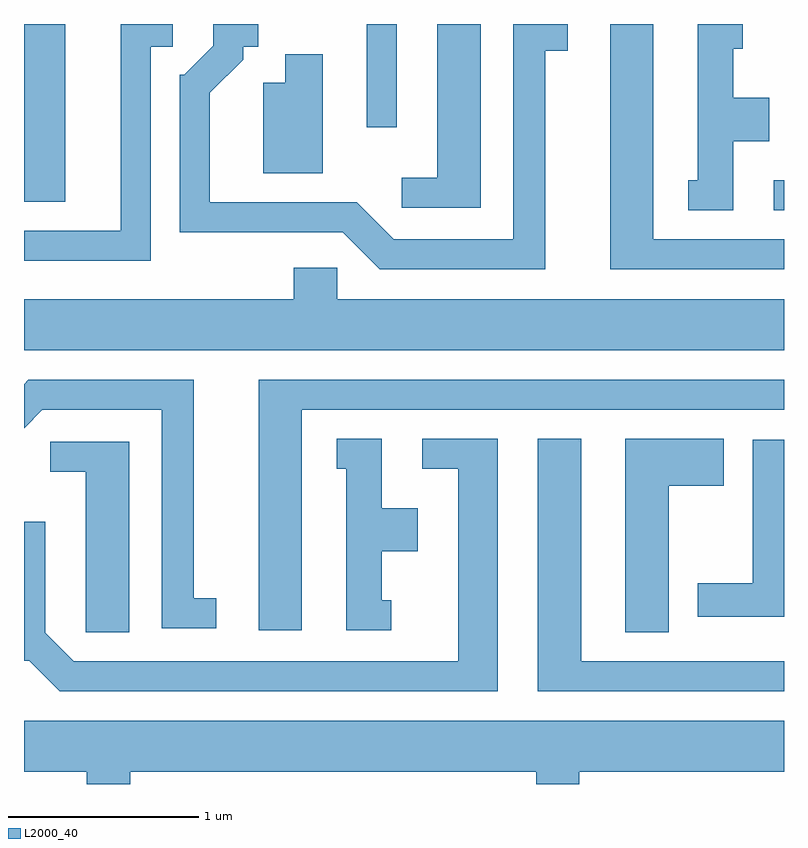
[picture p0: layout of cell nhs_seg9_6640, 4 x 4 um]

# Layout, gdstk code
import gdstk
lib = gdstk.Library(unit=1e-6, precision=1e-09)
def R(c, l, rs):  # rectangles x0, y0, x1, y1
    for r in rs: c.add(gdstk.rectangle(r[:2], r[2:], *l))
def P(c, l, *ps):  # polygons
    for p in ps: c.add(gdstk.Polygon(p, *l))
L2000_40 = (2000, 40)

nhs_seg9_6640 = lib.new_cell('nhs_seg9_6640')
R(nhs_seg9_6640, L2000_40, [(385.558,1981.451,385.611,1981.609), (381.611,1981.496,381.829,1982.432), (383.416,1981.888,383.574,1982.432)])
P(nhs_seg9_6640, L2000_40, [(385.611,1981.299),(384.924,1981.299),(384.924,1982.432),(384.696,1982.432),(384.696,1981.141),(385.611,1981.141)],
  [(382.279,1982.311),(382.393,1982.311),(382.393,1982.432),(382.121,1982.432),(382.121,1981.344),(381.611,1981.344),(381.611,1981.186),(382.279,1981.186)],
  [(384.014,1982.432),(383.786,1982.432),(383.786,1981.624),(383.598,1981.624),(383.598,1981.466),(384.014,1981.466)],
  [(384.354,1982.291),(384.473,1982.291),(384.473,1982.432),(384.186,1982.432),(384.186,1981.299),(383.557,1981.299),(383.362,1981.494),(382.589,1981.494),(382.589,1982.069),(382.764,1982.244),(382.764,1982.311),(382.843,1982.311),(382.843,1982.432),(382.606,1982.432),(382.606,1982.317),(382.454,1982.164),(382.431,1982.164),(382.431,1981.336),(383.289,1981.336),(383.484,1981.141),(384.354,1981.141)],
  [(385.344,1981.816),(385.534,1981.816),(385.534,1982.044),(385.344,1982.044),(385.344,1982.301),(385.393,1982.301),(385.393,1982.432),(385.156,1982.432),(385.156,1981.609),(385.108,1981.609),(385.108,1981.451),(385.344,1981.451)],
  [(383.184,1982.274),(382.986,1982.274),(382.986,1982.124),(382.871,1982.124),(382.871,1981.646),(383.184,1981.646)],
  [(385.611,1980.984),(383.259,1980.984),(383.259,1981.149),(383.031,1981.149),(383.031,1980.984),(381.611,1980.984),(381.611,1980.716),(385.611,1980.716)],
  [(383.074,1980.401),(385.611,1980.401),(385.611,1980.559),(382.846,1980.559),(382.846,1979.241),(383.074,1979.241)],
  [(382.623,1979.409),(382.504,1979.409),(382.504,1980.559),(381.634,1980.559),(381.611,1980.536),(381.611,1980.305),(381.707,1980.401),(382.336,1980.401),(382.336,1979.251),(382.623,1979.251)],
  [(385.004,1980.001),(385.294,1980.001),(385.294,1980.249),(384.776,1980.249),(384.776,1979.231),(385.004,1979.231)],
  [(383.543,1979.399),(383.494,1979.399),(383.494,1979.656),(383.684,1979.656),(383.684,1979.884),(383.494,1979.884),(383.494,1980.249),(383.258,1980.249),(383.258,1980.091),(383.306,1980.091),(383.306,1979.241),(383.543,1979.241)],
  [(384.104,1980.249),(383.708,1980.249),(383.708,1980.091),(383.896,1980.091),(383.896,1979.079),(381.872,1979.079),(381.724,1979.227),(381.724,1979.813),(381.611,1979.813),(381.611,1979.081),(381.639,1979.081),(381.799,1978.921),(384.104,1978.921)],
  [(385.611,1979.079),(384.544,1979.079),(384.544,1980.249),(384.316,1980.249),(384.316,1978.921),(385.611,1978.921)],
  [(385.611,1980.244),(385.446,1980.244),(385.446,1979.489),(385.156,1979.489),(385.156,1979.311),(385.611,1979.311)],
  [(382.164,1980.234),(381.748,1980.234),(381.748,1980.076),(381.936,1980.076),(381.936,1979.231),(382.164,1979.231)],
  [(382.169,1978.496),(384.306,1978.496),(384.306,1978.432),(384.534,1978.432),(384.534,1978.496),(385.611,1978.496),(385.611,1978.764),(381.611,1978.764),(381.611,1978.496),(381.941,1978.496),(381.941,1978.432),(382.169,1978.432)])

lib.write_gds('nhs_seg9_6640.gds')
